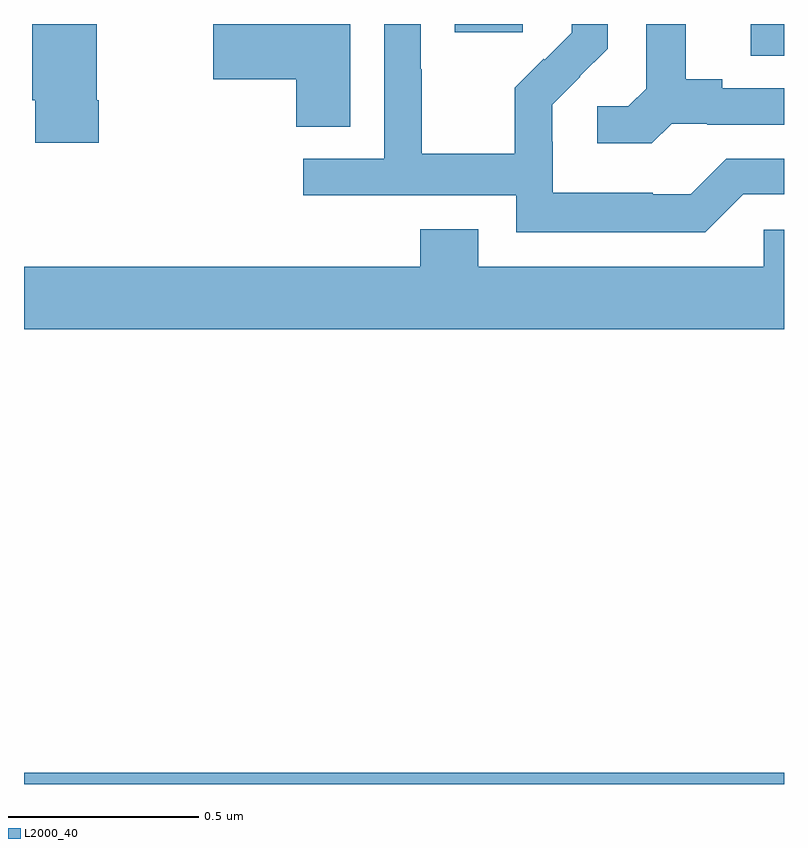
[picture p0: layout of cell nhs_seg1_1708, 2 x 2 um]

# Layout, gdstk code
import gdstk
lib = gdstk.Library(unit=1e-6, precision=1e-09)
def R(c, l, rs):  # rectangles x0, y0, x1, y1
    for r in rs: c.add(gdstk.rectangle(r[:2], r[2:], *l))
def P(c, l, *ps):  # polygons
    for p in ps: c.add(gdstk.Polygon(p, *l))
L2000_40 = (2000, 40)

nhs_seg1_1708 = lib.new_cell('nhs_seg1_1708')
R(nhs_seg1_1708, L2000_40, [(132,553.199,134,553.228), (133.913,555.115,134,555.199), (133.133,555.177,133.312,555.199)])
P(nhs_seg1_1708, L2000_40, [(132.859,555.199),(132.498,555.199),(132.498,555.053),(132.716,555.053),(132.716,554.929),(132.859,554.929)],
  [(132.197,554.998),(132.192,554.998),(132.192,555.199),(132.022,555.199),(132.022,554.998),(132.029,554.998),(132.029,554.886),(132.197,554.886)],
  [(133.704,554.937),(133.798,554.937),(133.798,554.934),(134,554.934),(134,555.03),(133.837,555.03),(133.837,555.053),(133.741,555.053),(133.741,555.199),(133.637,555.199),(133.637,555.029),(133.59,554.982),(133.509,554.982),(133.509,554.885),(133.652,554.885)],
  [(133.893,554.751),(134,554.751),(134,554.844),(133.848,554.844),(133.755,554.751),(133.655,554.751),(133.655,554.755),(133.392,554.755),(133.392,554.889),(133.39,554.889),(133.39,554.986),(133.464,555.06),(133.463,555.061),(133.536,555.134),(133.536,555.199),(133.442,555.199),(133.442,555.176),(133.371,555.105),(133.368,555.108),(133.291,555.031),(133.291,554.857),(133.047,554.857),(133.047,555.08),(133.044,555.08),(133.044,555.199),(132.948,555.199),(132.948,554.844),(132.735,554.844),(132.735,554.748),(133.296,554.748),(133.296,554.651),(133.793,554.651)],
  [(134,554.658),(133.947,554.658),(133.947,554.56),(133.195,554.56),(133.195,554.659),(133.043,554.659),(133.043,554.56),(132,554.56),(132,554.396),(134,554.396)])

lib.write_gds('nhs_seg1_1708.gds')
